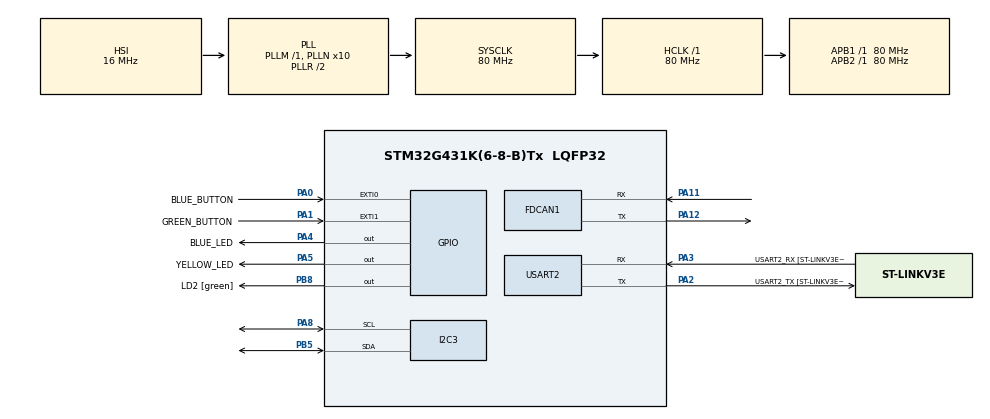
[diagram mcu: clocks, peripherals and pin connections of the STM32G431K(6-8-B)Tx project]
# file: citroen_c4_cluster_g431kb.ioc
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FDCAN1.AutoRetransmission=ENABLE
FDCAN1.CalculateBaudRateNominal=125000
FDCAN1.CalculateTimeBitNominal=8000
FDCAN1.CalculateTimeQuantumNominal=500.0
FDCAN1.ClockDivider=FDCAN_CLOCK_DIV4
FDCAN1.DataPrescaler=10
FDCAN1.DataSyncJumpWidth=1
FDCAN1.DataTimeSeg1=13
FDCAN1.DataTimeSeg2=2
FDCAN1.NominalPrescaler=10
FDCAN1.NominalSyncJumpWidth=1
FDCAN1.NominalTimeSeg1=13
FDCAN1.NominalTimeSeg2=2
FDCAN1.StdFiltersNbr=2
I2C3.Timing=0x10D19CE4
Mcu.Family=STM32G4
Mcu.Name=STM32G431K(6-8-B)Tx
Mcu.Package=LQFP32
NVIC.EXTI1_IRQn=true\:0\:0\:false\:false\:true\:true\:true\:true
NVIC.FDCAN1_IT0_IRQn=true\:0\:0\:false\:false\:true\:true\:true\:true
NVIC.FDCAN1_IT1_IRQn=true\:0\:0\:false\:false\:true\:true\:true\:true
NVIC.PriorityGroup=NVIC_PRIORITYGROUP_4
NVIC.USART2_IRQn=true\:0\:0\:false\:false\:true\:true\:true\:true
PA0.GPIO_Label=BLUE_BUTTON
PA0.GPIO_ModeDefaultEXTI=GPIO_MODE_IT_FALLING
PA0.GPIO_PuPd=GPIO_PULLUP
PA0.Signal=GPXTI0
PA1.GPIO_Label=GREEN_BUTTON
PA1.GPIO_ModeDefaultEXTI=GPIO_MODE_IT_FALLING
PA1.GPIO_PuPd=GPIO_PULLUP
PA1.Signal=GPXTI1
PA11.Mode=FDCAN_Activate
PA11.Signal=FDCAN1_RX
PA12.Mode=FDCAN_Activate
PA12.Signal=FDCAN1_TX
PA13.GPIO_Label=T_SWDIO
PA13.Mode=Serial_Wire
PA13.Signal=SYS_JTMS-SWDIO
PA14.GPIO_Label=T_SWCLK
PA14.Mode=Serial_Wire
PA14.Signal=SYS_JTCK-SWCLK
PA2.GPIO_Label=USART2_TX [ST-LINKV3E_VCP_RX]
PA2.Mode=Asynchronous
PA2.Signal=USART2_TX
PA3.GPIO_Label=USART2_RX [ST-LINKV3E_VCP_TX]
PA3.Mode=Asynchronous
PA3.Signal=USART2_RX
PA4.GPIO_Label=BLUE_LED
PA4.Signal=GPIO_Output
PA5.GPIO_Label=YELLOW_LED
PA5.Signal=GPIO_Output
PA8.Mode=I2C
PA8.Signal=I2C3_SCL
PB3.GPIO_Label=T_SWO
PB3.Signal=SYS_JTDO-SWO
PB5.Mode=I2C
PB5.Signal=I2C3_SDA
PB8-BOOT0.GPIO_Label=LD2 [green]
PB8-BOOT0.Signal=GPIO_Output
ProjectManager.HeapSize=0x200
ProjectManager.StackSize=0x400
ProjectManager.TargetToolchain=STM32CubeIDE
RCC.ADC12Freq_Value=80000000
RCC.AHBFreq_Value=80000000
RCC.APB1Freq_Value=80000000
RCC.APB1TimFreq_Value=80000000
RCC.APB2Freq_Value=80000000
RCC.APB2TimFreq_Value=80000000
RCC.CK48CLockSelection=RCC_USBCLKSOURCE_HSI48
RCC.CortexFreq_Value=80000000
RCC.EXTERNAL_CLOCK_VALUE=12288000
RCC.HCLKFreq_Value=80000000
RCC.HSE_VALUE=8000000
RCC.HSI48_VALUE=48000000
RCC.HSI_VALUE=16000000
RCC.LSE_VALUE=32768
RCC.PLLN=10
RCC.PLLQ=RCC_PLLQ_DIV4
RCC.PWR_Regulator_Voltage_Scale=PWR_REGULATOR_VOLTAGE_SCALE1_BOOST
RCC.SYSCLKFreq_VALUE=80000000
RCC.SYSCLKSource=RCC_SYSCLKSOURCE_PLLCLK
RCC.USBFreq_Value=48000000
RCC.VCOOutputFreq_Value=160000000
USART2.VirtualMode-Asynchronous=VM_ASYNC
USART2.WordLength=WORDLENGTH_8B
VP_SYS_VS_DBSignals.Mode=DisableDeadBatterySignals
board=NUCLEO-G431KB

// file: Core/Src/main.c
/* USER CODE BEGIN Header */
/**
 ******************************************************************************
 * @file           : main.c
 * @brief          : Main program body
 ******************************************************************************
 * @attention
 *
 * Copyright (c) 2024 STMicroelectronics.
 * All rights reserved.
 *
 * This software is licensed under terms that can be found in the LICENSE file
 * in the root directory of this software component.
 * If no LICENSE file comes with this software, it is provided AS-IS.
 *
 ******************************************************************************
 */
/* USER CODE END Header */
#include "main.h"
#include "fdcan.h"
#include "i2c.h"
#include "usart.h"
#include "gpio.h"

/* USER CODE BEGIN Includes */
#include <stdio.h>
#include <stdlib.h>
#include <string.h>
#include <math.h>
#include "citroen_c4.h"
#include "ssd1306.h"
/* USER CODE END Includes */

/* USER CODE BEGIN PD */

#define MPH2KPH 1.609344

#define CAN_MSG_REPEAT_PERIOD 100
#define CAN_MSG_TIME_INTERVAL 1

#define ENGINE_SPEED_MAX 4500 // rpm
#define ENGINE_SPEED_INCREMENT 200
#define ENGINE_SPEED_DECREMENT 300
#define VEHICLE_SPEED_MAX 200 //650 //((uint16_t)(round(127*MPH2KPH))) // km/h
#define VEHICLE_SPEED_INCREMENT 3
#define ENGINE_SPEED_GEAR_SHIFT 3000 // rpm
#define COOLANT_TEMPERATURE 80 // degC
#define FUEL_LEVEL 75 // %
#define OIL_TEMP 150

/*
 * Citroen C5 IPC does not display mileage lower than the one stored in the IPC.
 * Sending higher mileage overwrites current mileage for good.
 * Citroen C4 IPC lets you display any mileage
 * but at the same time it stores real mileage that can be read at the power-up.
 * I haven't checked what would happen if I sent mileage higher than the stored one.
 * To be on the safe side I use the same approach as for Citroen C5 IPC.
 * BTW, it's fun to know a real mileage of an IPC. Why? I dont't know :)
 */
#define ODOMETER 0xC4 // please do not change beyond the stored one that can be read at the power-up // km

#define DELAYED_START_INTERVAL 4000

// #define SEND_ALL_CONSECUTIVE_IDS
#define BEGINING_FROM_ID 0x00
#define PATTERN_TO_BE_SEND   0xAA
#define FDCAN_DLC_BYTES_MIN 3
#define FDCAN_DLC_BYTES_MAX 8

/* USER CODE END PD */

/* USER CODE BEGIN PV */
FDCAN_RxHeaderTypeDef RxHeader0;
uint8_t RxData0[8];

FDCAN_RxHeaderTypeDef RxHeader1;
uint8_t RxData1[8];
uint8_t RxDataOdometer[8];
uint8_t odometer_rx_flag = 0;
uint8_t odometer_real_flag = 0;

FDCAN_TxHeaderTypeDef TxHeader;
uint8_t TxData8[8];

uint32_t TxMailbox;

uint16_t vehicle_speed = 0;
uint16_t engine_speed = 0;
uint8_t gear_number;

uint8_t engine_speed_down;

uint32_t CanMsgSoftTimer50;
uint32_t CanMsgSoftTimer100;
uint32_t CanMsgSoftTimer200;
uint32_t CanMsgSoftTimer500;
uint32_t CanMsgSoftTimer;
uint32_t DelayedStartSoftTimer;

volatile uint8_t green_button_flag = 0;

uint16_t msg_id = BEGINING_FROM_ID;

char lcd_line[128];

uint32_t mileage = ODOMETER;
/* USER CODE END PV */

void SystemClock_Config(void);
/* USER CODE BEGIN PFP */
void CalculateRpmSpeed(void);

/* USER CODE END PFP */

int main(void)
{

  /* MCU Configuration--------------------------------------------------------*/

  /* Reset of all peripherals, Initializes the Flash interface and the Systick. */
  HAL_Init();

  /* Configure the system clock */
  SystemClock_Config();

  /* Initialize all configured peripherals */
  MX_GPIO_Init();
  MX_USART2_UART_Init();
  MX_FDCAN1_Init();
  MX_I2C3_Init();
  /* USER CODE BEGIN 2 */
	ssd1306_Init();
	ssd1306_Fill(Black);
	ssd1306_SetCursor(20, 0);
	ssd1306_WriteString("ufnalski.edu.pl", Font_6x8, White);
	ssd1306_SetCursor(10, 11);
	ssd1306_WriteString("Citroen C4 II 2011", Font_6x8, White);
	ssd1306_SetCursor(10, 22);
	ssd1306_WriteString("Instrument cluster", Font_6x8, White);
	ssd1306_SetCursor(15, 33);
	ssd1306_WriteString("CAN bus hacking", Font_6x8, White);
	ssd1306_UpdateScreen();

	HAL_FDCAN_ConfigGlobalFilter(&hfdcan1, FDCAN_REJECT, FDCAN_REJECT,
	FDCAN_REJECT_REMOTE, FDCAN_REJECT_REMOTE);

	if (HAL_FDCAN_Start(&hfdcan1) != HAL_OK)
	{
		Error_Handler();
	}

	if (HAL_FDCAN_ActivateNotification(&hfdcan1, FDCAN_IT_RX_FIFO0_NEW_MESSAGE,
			0) != HAL_OK)
	{
		/* Notification Error */
		Error_Handler();
	}

	if (HAL_FDCAN_ActivateNotification(&hfdcan1, FDCAN_IT_RX_FIFO1_NEW_MESSAGE,
			0) != HAL_OK)
	{
		/* Notification Error */
		Error_Handler();
	}

	TxHeader.IdType = FDCAN_STANDARD_ID;
	TxHeader.TxFrameType = FDCAN_DATA_FRAME;
	TxHeader.ErrorStateIndicator = FDCAN_ESI_ACTIVE;
	TxHeader.BitRateSwitch = FDCAN_BRS_OFF;
	TxHeader.FDFormat = FDCAN_CLASSIC_CAN;
	TxHeader.TxEventFifoControl = FDCAN_NO_TX_EVENTS;
//	TxHeader.MessageMarker = 0;

	CanMsgSoftTimer50 = HAL_GetTick();
	CanMsgSoftTimer100 = HAL_GetTick();
	CanMsgSoftTimer200 = HAL_GetTick();
	CanMsgSoftTimer500 = HAL_GetTick();
	CanMsgSoftTimer = HAL_GetTick();
	DelayedStartSoftTimer = HAL_GetTick();

	memset(RxData0, 0x00, sizeof(RxData0));
	memset(RxData1, 0x00, sizeof(RxData1));

  /* USER CODE END 2 */

  /* Infinite loop */
  /* USER CODE BEGIN WHILE */
	while (1)
	{

		if (odometer_rx_flag == 1)
		{
			odometer_rx_flag = 0;
			mileage = (RxDataOdometer[0] << 16) | (RxDataOdometer[1] << 8)
					| (RxDataOdometer[3]);
			mileage /= 10;
			odometer_real_flag = 1;
		}

		if (green_button_flag == 1)
		{
			green_button_flag = 0;

			// your non-cyclic frames
		}

		// every 50 ms
		if (HAL_GetTick() - CanMsgSoftTimer50 > 50)
		{
			CanMsgSoftTimer50 = HAL_GetTick();
			send_rpm_and_speed(engine_speed, vehicle_speed,
			CAN_MSG_TIME_INTERVAL);
		}
		// every 100 ms
		if (HAL_GetTick() - CanMsgSoftTimer100 > 100)
		{
			CanMsgSoftTimer100 = HAL_GetTick();
			send_ignition_on((RxData0[0]) >> 4, CAN_MSG_TIME_INTERVAL);
		}
		// every 200 ms
		if (HAL_GetTick() - CanMsgSoftTimer200 > 200)
		{
			CanMsgSoftTimer200 = HAL_GetTick();
			if (HAL_GetTick() - DelayedStartSoftTimer > DELAYED_START_INTERVAL)
			{
				CalculateRpmSpeed();
				send_christmas_lights_and_gear(gear_number,
				CAN_MSG_TIME_INTERVAL);
				send_christmas_lights_bis(CAN_MSG_TIME_INTERVAL);
				send_cruise_data(CAN_MSG_TIME_INTERVAL);
			}
		}
		// every 500 ms
		if (HAL_GetTick() - CanMsgSoftTimer500 > 500)
		{
			CanMsgSoftTimer500 = HAL_GetTick();
			send_fuel_level_and_oil_temp(FUEL_LEVEL, OIL_TEMP,
			CAN_MSG_TIME_INTERVAL);
			send_odometer_and_coolant_temp(COOLANT_TEMPERATURE, mileage,
			CAN_MSG_TIME_INTERVAL);
//			send_maintenance(CAN_MSG_TIME_INTERVAL);
			send_trip_computer(CAN_MSG_TIME_INTERVAL);

#ifndef SEND_ALL_CONSECUTIVE_IDS
			ssd1306_SetCursor(5, 46);
			sprintf(lcd_line, "Odometer (%s):",
					(odometer_real_flag == 1) ? "real" : "fake");
			ssd1306_WriteString(lcd_line, Font_6x8, White);
			sprintf(lcd_line, "%lu km", mileage);
			ssd1306_SetCursor(30, 56);
			ssd1306_WriteString(lcd_line, Font_6x8, White);
			ssd1306_UpdateScreen();
#endif
			HAL_GPIO_TogglePin(BLUE_LED_GPIO_Port, BLUE_LED_Pin);
		}

#ifdef SEND_ALL_CONSECUTIVE_IDS
		if ((HAL_GetTick() - CanMsgSoftTimer > CAN_MSG_REPEAT_PERIOD)
				&& (msg_id <= 0x7FF))
		{
			CanMsgSoftTimer = HAL_GetTick();

			for (uint32_t msg_length = FDCAN_DLC_BYTES_MAX;
					msg_length >= FDCAN_DLC_BYTES_MIN; msg_length--)
			{
				HAL_Delay(CAN_MSG_TIME_INTERVAL);
				TxHeader.DataLength = msg_length;
				TxHeader.Identifier = msg_id;
				memset(TxData8, PATTERN_TO_BE_SEND, sizeof(TxData8));

				if (msg_id != CAN_ID_ODOMETER_TO_IPC)
				{
					if (HAL_FDCAN_AddMessageToTxFifoQ(&hfdcan1, &TxHeader,
							TxData8) != HAL_OK)
					{
						Error_Handler();
					}
				}
			}

			msg_id++;

			sprintf(lcd_line, "Brightness: %d  ", (RxData0[0]) >> 4);
			ssd1306_SetCursor(16, 45);
			ssd1306_WriteString(lcd_line, Font_6x8, White);

			sprintf(lcd_line, "Message ID: %u    ", msg_id - 1);
			ssd1306_SetCursor(16, 56);
			ssd1306_WriteString(lcd_line, Font_6x8, White);

			ssd1306_UpdateScreen(); // adds 100 ms at 100 kHz I2C!!!
			HAL_GPIO_TogglePin(BLUE_LED_GPIO_Port,
			BLUE_LED_Pin);
		}
#endif
    /* USER CODE END WHILE */

	}
}

void SystemClock_Config(void)
{
  RCC_OscInitTypeDef RCC_OscInitStruct = {0};
  RCC_ClkInitTypeDef RCC_ClkInitStruct = {0};

  /** Configure the main internal regulator output voltage
  */
  HAL_PWREx_ControlVoltageScaling(PWR_REGULATOR_VOLTAGE_SCALE1_BOOST);

  /** Initializes the RCC Oscillators according to the specified parameters
  * in the RCC_OscInitTypeDef structure.
  */
  RCC_OscInitStruct.OscillatorType = RCC_OSCILLATORTYPE_HSI;
  RCC_OscInitStruct.HSIState = RCC_HSI_ON;
  RCC_OscInitStruct.HSICalibrationValue = RCC_HSICALIBRATION_DEFAULT;
  RCC_OscInitStruct.PLL.PLLState = RCC_PLL_ON;
  RCC_OscInitStruct.PLL.PLLSource = RCC_PLLSOURCE_HSI;
  RCC_OscInitStruct.PLL.PLLM = RCC_PLLM_DIV1;
  RCC_OscInitStruct.PLL.PLLN = 10;
  RCC_OscInitStruct.PLL.PLLP = RCC_PLLP_DIV2;
  RCC_OscInitStruct.PLL.PLLQ = RCC_PLLQ_DIV4;
  RCC_OscInitStruct.PLL.PLLR = RCC_PLLR_DIV2;
  if (HAL_RCC_OscConfig(&RCC_OscInitStruct) != HAL_OK)
  {
    Error_Handler();
  }

  /** Initializes the CPU, AHB and APB buses clocks
  */
  RCC_ClkInitStruct.ClockType = RCC_CLOCKTYPE_HCLK|RCC_CLOCKTYPE_SYSCLK
                              |RCC_CLOCKTYPE_PCLK1|RCC_CLOCKTYPE_PCLK2;
  RCC_ClkInitStruct.SYSCLKSource = RCC_SYSCLKSOURCE_PLLCLK;
  RCC_ClkInitStruct.AHBCLKDivider = RCC_SYSCLK_DIV1;
  RCC_ClkInitStruct.APB1CLKDivider = RCC_HCLK_DIV1;
  RCC_ClkInitStruct.APB2CLKDivider = RCC_HCLK_DIV1;

  if (HAL_RCC_ClockConfig(&RCC_ClkInitStruct, FLASH_LATENCY_2) != HAL_OK)
  {
    Error_Handler();
  }
}

/* USER CODE BEGIN 4 */
void HAL_FDCAN_RxFifo0Callback(FDCAN_HandleTypeDef *hfdcan, uint32_t RxFifo0ITs)
{
	if ((RxFifo0ITs & FDCAN_IT_RX_FIFO0_NEW_MESSAGE) != RESET)
	{
		/* Retreive Rx messages from RX FIFO0 */
		if (HAL_FDCAN_GetRxMessage(hfdcan, FDCAN_RX_FIFO0, &RxHeader0, RxData0)
				!= HAL_OK)
		{
			/* Reception Error */
			Error_Handler();
		}

		if (HAL_FDCAN_ActivateNotification(hfdcan,
		FDCAN_IT_RX_FIFO0_NEW_MESSAGE, 0) != HAL_OK)
		{
			/* Notification Error */
			Error_Handler();
		}
		else
		{
			HAL_GPIO_TogglePin(YELLOW_LED_GPIO_Port,
			YELLOW_LED_Pin);
		}
	}
}

void HAL_FDCAN_RxFifo1Callback(FDCAN_HandleTypeDef *hfdcan, uint32_t RxFifo1ITs)
{
	if ((RxFifo1ITs & FDCAN_IT_RX_FIFO1_NEW_MESSAGE) != RESET)
	{
		/* Retreive Rx messages from RX FIFO1 */
		if (HAL_FDCAN_GetRxMessage(hfdcan, FDCAN_RX_FIFO1, &RxHeader1, RxData1)
				!= HAL_OK)
		{
			/* Reception Error */
			Error_Handler();
		}
		else if ((RxHeader1.Identifier == CAN_ID_ODOMETER_FROM_IPC)
				&& (RxHeader1.DataLength == 6)) // odometer
		{
			odometer_rx_flag = 1;
			memcpy(RxDataOdometer, RxData1, 8);
			HAL_GPIO_TogglePin(YELLOW_LED_GPIO_Port, YELLOW_LED_Pin);
		}
		else
		{
			;
		}

		if (HAL_FDCAN_ActivateNotification(hfdcan,
		FDCAN_IT_RX_FIFO1_NEW_MESSAGE, 0) != HAL_OK)
		{
			/* Notification Error */
			Error_Handler();
		}

	}
}

void HAL_GPIO_EXTI_Callback(uint16_t GPIO_Pin)
{
	if (GPIO_Pin == GREEN_BUTTON_Pin)
	{
		green_button_flag = 1;
	}
}

void CalculateRpmSpeed(void)
{
	if (!engine_speed_down)
	{
		if (engine_speed < ENGINE_SPEED_MAX - ENGINE_SPEED_INCREMENT)
		{
			engine_speed = engine_speed + ENGINE_SPEED_INCREMENT;

		}
		else if (gear_number < 5)
		{
			engine_speed_down = 1;
			gear_number++;
		}
		else
		{
			;
		}
	}
	else
	{
		if (engine_speed > ENGINE_SPEED_GEAR_SHIFT)
		{
			engine_speed = engine_speed - ENGINE_SPEED_DECREMENT;
		}
		else
		{
			engine_speed_down = 0;
		}
	}

	if (vehicle_speed < VEHICLE_SPEED_MAX - VEHICLE_SPEED_INCREMENT)
	{
		vehicle_speed = vehicle_speed + VEHICLE_SPEED_INCREMENT;
	}
}

/* USER CODE END 4 */

void Error_Handler(void)
{
  /* USER CODE BEGIN Error_Handler_Debug */
	/* User can add his own implementation to report the HAL error return state */
//  __disable_irq();
//  while (1)
//  {
//  }
  /* USER CODE END Error_Handler_Debug */
}
